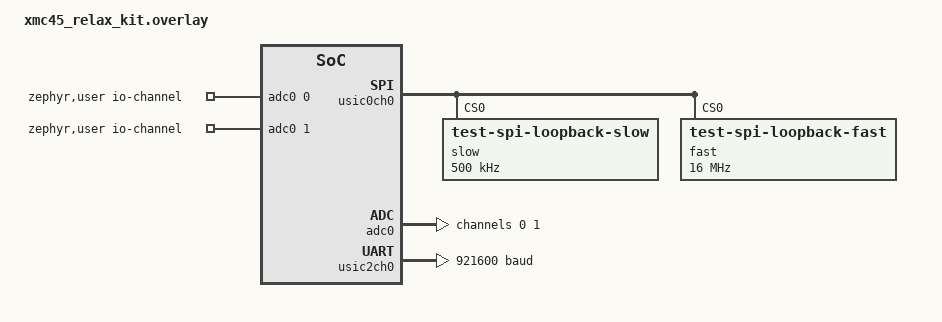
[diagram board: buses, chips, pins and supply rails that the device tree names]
/*
 * Copyright (c) 2025 Andriy Gelman
 *
 * SPDX-License-Identifier: Apache-2.0
 */

tst_dma0: &dma0 {
	status = "okay";
};

#include <zephyr/dt-bindings/dma/infineon-xmc4xxx-dma.h>

&spi_mosi_p1_5_u0c0 {
	drive-strength = "strong-soft-edge";
	hwctrl = "disabled";
};

&spi_miso_p1_4_u0c0 {
	drive-strength = "strong-soft-edge";
	hwctrl = "disabled";
};

&spi_sclk_p0_8_u0c0 {
	drive-strength = "strong-soft-edge";
	hwctrl = "disabled";
};

&usic0ch0 {
	compatible = "infineon,xmc4xxx-spi";
	pinctrl-0 = <&spi_mosi_p1_5_u0c0 &spi_miso_p1_4_u0c0 &spi_sclk_p0_8_u0c0>;
	pinctrl-names = "default";
	miso-src = "DX0B";
	interrupts = <84 1 85 1>;
	interrupt-names = "tx", "rx";
	dmas = <&dma0 1 0 XMC4XXX_SET_CONFIG(0, 10)>, <&dma0 2 0 XMC4XXX_SET_CONFIG(2, 11)>;
	dma-names = "tx", "rx";
	#address-cells = <1>;
	#size-cells = <0>;
	status = "okay";
	slow@0 {
		compatible = "test-spi-loopback-slow";
		reg = <0>;
		spi-max-frequency = <500000>;
	};
	fast@0 {
		compatible = "test-spi-loopback-fast";
		reg = <0>;
		spi-max-frequency = <16000000>;
	};
};

&dma0 {
	status = "okay";
};

/ {
	zephyr,user {
		io-channels = <&adc0 0>, <&adc0 1>;
	};
};

&adc0 {
	#address-cells = <1>;
	#size-cells = <0>;
	status = "okay";
	channel@0 {
		reg = <0>;
		zephyr,gain = "ADC_GAIN_1";
		zephyr,reference = "ADC_REF_INTERNAL";
		zephyr,acquisition-time = <ADC_ACQ_TIME_DEFAULT>;
		zephyr,resolution = <12>;
	};
	channel@1 {
		reg = <1>;
		zephyr,gain = "ADC_GAIN_1";
		zephyr,reference = "ADC_REF_INTERNAL";
		zephyr,acquisition-time = <ADC_ACQ_TIME_DEFAULT>;
		zephyr,resolution = <12>;
	};
};

dut: &usic2ch0 {
	compatible = "infineon,xmc4xxx-uart";
	current-speed = <921600>;
	pinctrl-0 = <&uart_tx_p5_0_u2c0 &uart_rx_p5_1_u2c0>;
	pinctrl-names = "default";
	input-src = "DX0G";
	interrupts = <96 1 97 1>;
	interrupt-names = "tx", "rx";
	dmas = <&dma1 1 0 XMC4XXX_SET_CONFIG(10, 6)>, <&dma1 2 0 XMC4XXX_SET_CONFIG(11, 6)>;
	dma-names = "tx", "rx";
	fifo-start-offset = <0>;
	fifo-tx-size = <0>;
	fifo-rx-size = <0>;
	data-bits = <8>;
	stop-bits = "1";
	status = "okay";
};

&uart_tx_p5_0_u2c0 {
	drive-strength = "strong-soft-edge";
	drive-push-pull;
	hwctrl = "disabled";
};

&uart_rx_p5_1_u2c0 {
	drive-strength = "strong-soft-edge";
	hwctrl = "disabled";
};

&dma1 {
	status = "okay";
};
